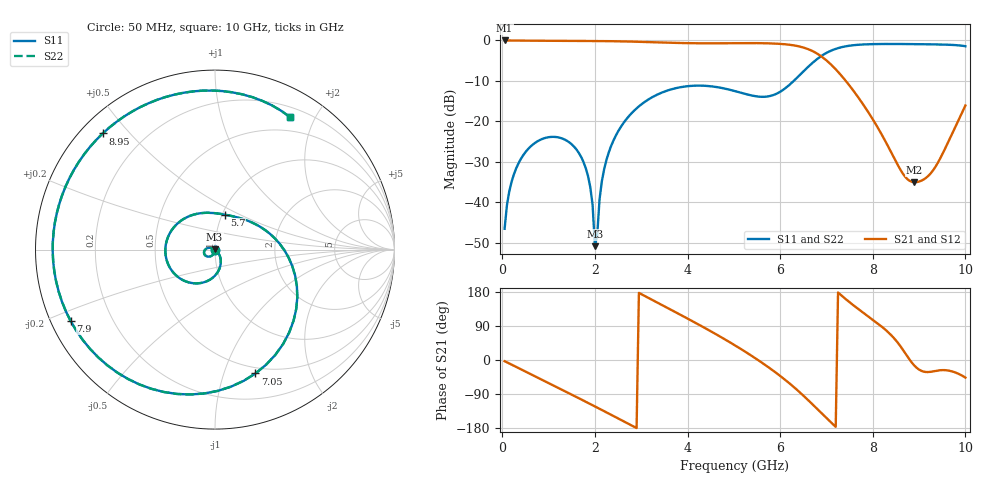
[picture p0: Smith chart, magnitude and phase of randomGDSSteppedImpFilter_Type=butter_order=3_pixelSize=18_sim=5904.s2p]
! freq	dB(S11)	phase(S11)	dB(S12)	phase(S12)
!  dB(S21)	phase(S21)	dB(S22)	phase(S22)
!S-par simulation data
#  GHz  S  DB  R 50
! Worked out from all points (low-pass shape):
!   200 points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, 50 MHz to 10 GHz, reference 50 ohm
!   highest |S21| = 0.00 dB at 50 MHz (marker M1); lowest = -35.0 dB at 8.9 GHz (marker M2)
!   |S21| within 3 dB of the highest: start of sweep to 6.76 GHz
!   lowest |S11| = -50.8 dB at 2 GHz (marker M3), VSWR 1.01, Z = 49.8 + j0.197 ohm
!   |S11| at or under -10 dB: start of sweep to 6.293 GHz
!   |S22| runs from -50.8 to -0.9 dB; largest |S21 - S12| = 0
!   S11 on the Smith chart (normalised r, x): 50 MHz: 1.00, -0.01; 5.7 GHz: 1.03, +0.42; 7.05 GHz: 0.44, -1.28; 7.9 GHz: 0.06, -0.23; 8.95 GHz: 0.06, +0.42; 10 GHz: 0.32, +1.67
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0.05  -46.50 -90.4  -0.00 -3.1  -0.00 -3.1  -46.53 -90.7
0.25  -33.08 -104.4  -0.03 -15.3  -0.03 -15.3  -33.10 -104.4
0.65  -25.80 -130.1  -0.06 -39.6  -0.06 -39.6  -25.80 -130.2
1.25  -24.05 -167.1  -0.11 -76.1  -0.11 -76.1  -24.05 -167.1
1.75  -29.92 161.6  -0.13 -106.9  -0.13 -106.9  -29.92 161.5
1.9  -36.21 151.4  -0.14 -116.2  -0.14 -116.2  -36.21 151.2
2  -50.80 136.8  -0.14 -122.5  -0.14 -122.5  -50.80 135.6
2.15  -34.76 -41.3  -0.16 -131.9  -0.16 -131.9  -34.76 -41.1
2.35  -26.06 -54.8  -0.18 -144.5  -0.18 -144.5  -26.06 -54.7
3.4  -13.10 -122.1  -0.49 148.2  -0.49 148.2  -13.10 -122.1
4.25  -11.15 -176.9  -0.70 92.9  -0.70 92.9  -11.15 -177.0
5.05  -12.59 127.2  -0.67 36.7  -0.67 36.7  -12.59 127.1
5.7  -13.88 74.7  -0.70 -15.1  -0.70 -15.1  -13.88 74.5
6.25  -10.46 21.3  -1.14 -66.7  -1.14 -66.7  -10.46 21.2
6.7  -5.52 -30.0  -2.64 -117.2  -2.64 -117.2  -5.52 -30.0
7.05  -2.78 -71.9  -5.44 -159.2  -5.44 -159.2  -2.78 -72.0
7.4  -1.48 -109.8  -9.75 162.3  -9.75 162.3  -1.48 -109.8
7.9  -0.94 -153.6  -17.66 115.3  -17.66 115.3  -0.94 -153.6
8.35  -0.87 173.7  -26.57 71.3  -26.57 71.3  -0.87 173.7
8.9  -0.91 137.3  -35.02 -15.0  -35.02 -15.0  -0.91 137.2
8.95  -0.91 134.0  -34.98 -20.8  -34.98 -20.8  -0.91 134.0
10  -1.43 60.5  -16.07 -46.4  -16.07 -46.4  -1.43 60.4
